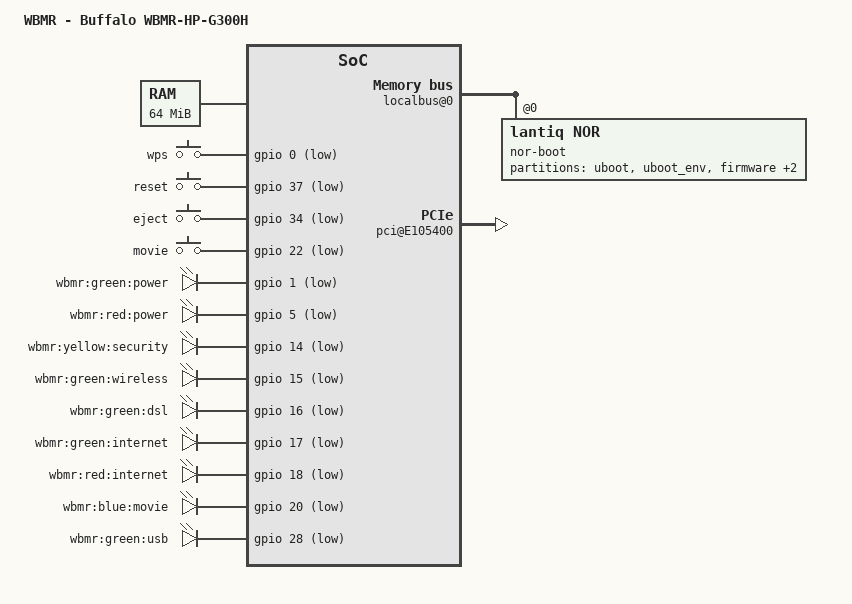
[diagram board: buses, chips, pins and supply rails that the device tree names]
/dts-v1/;

#include "ar9.dtsi"

#include <dt-bindings/input/input.h>

/ {
	model = "WBMR - Buffalo WBMR-HP-G300H";

	chosen {
		bootargs = "console=ttyLTQ0,115200";
	};

	aliases {
		led-boot = &power_green;
		led-failsafe = &power_red;
		led-running = &power_green;

		led-dsl = &dsl;
		led-internet = &online_green;
		led-usb = &usb;
		led-wifi = &wifi;
	};

	memory@0 {
		reg = <0x0 0x4000000>;
	};

	fpi@10000000 {
		localbus@0 {
			nor-boot@0 {
				compatible = "lantiq,nor";
				bank-width = <2>;
				reg = <0 0x0 0x2000000>;
				#address-cells = <1>;
				#size-cells = <1>;

				partitions {
					compatible = "fixed-partitions";
					#address-cells = <1>;
					#size-cells = <1>;

					partition@0 {
						label = "uboot";
						reg = <0x00000 0x40000>;
						read-only;
					};

					partition@40000 {
						label = "uboot_env";
						reg = <0x40000 0x20000>;
						read-only;
					};

					partition@20000 {
						label = "firmware";
						reg = <0x60000 0x1f20000>;
					};

					boardconfig: partition@1fc0000 {
						label = "board";
						reg = <0x1fc0000 0x20000>;
						read-only;
					};

					partition@1fe0000 {
						label = "calibration";
						reg = <0x1fe0000 0x20000>;
						read-only;
					};
				};
			};
		};

		gpio: pinmux@E100B10 {
			pinctrl-names = "default";
			pinctrl-0 = <&state_default>;

			state_default: pinmux {
				pci-in {
					lantiq,groups = "req1";
					lantiq,output = <0>;
					lantiq,open-drain = <1>;
					lantiq,pull = <2>;
				};
				pci-out {
					lantiq,groups = "gnt1";
					lantiq,output = <1>;
					lantiq,pull = <0>;
				};
				pci_rst {
					lantiq,pins = "io21";
					lantiq,pull = <0>;
					lantiq,output = <1>;
				};
			};
		};

		etop@E180000 {
			phy-mode = "rgmii";
			mtd-mac-address = <&boardconfig 0x10024>;
		};

		ifxhcd@E101000 {
			status = "okay";
			gpios = <&gpio 36 GPIO_ACTIVE_HIGH>;
		};

		pci@E105400 {
			status = "okay";
		};
	};

	gpio-keys-polled {
		compatible = "gpio-keys-polled";
		#address-cells = <1>;
		#size-cells = <0>;
		poll-interval = <100>;

		wps {
			label = "wps";
			gpios = <&gpio 0 GPIO_ACTIVE_LOW>;
			linux,code = <KEY_WPS_BUTTON>;
		};
		reset {
			label = "reset";
			gpios = <&gpio 37 GPIO_ACTIVE_LOW>;
			linux,code = <KEY_RESTART>;
		};
		eject {
			label = "eject";
			gpios = <&gpio 34 GPIO_ACTIVE_LOW>;
			linux,code = <KEY_EJECTCD>;
		};
		movie {
			label = "movie";
			gpios = <&gpio 22 GPIO_ACTIVE_LOW>;
			linux,code = <KEY_VIDEO>;
		};
	};

	gpio-leds {
		compatible = "gpio-leds";

		power_green: power {
			label = "wbmr:green:power";
			gpios = <&gpio 1 GPIO_ACTIVE_LOW>;
			default-state = "keep";
		};
		power_red: power2 {
			label = "wbmr:red:power";
			gpios = <&gpio 5 GPIO_ACTIVE_LOW>;
		};
		security {
			label = "wbmr:yellow:security";
			gpios = <&gpio 14 GPIO_ACTIVE_LOW>;
		};
		wifi: wifi {
			label = "wbmr:green:wireless";
			gpios = <&gpio 15 GPIO_ACTIVE_LOW>;
		};
		dsl: dsl {
			label = "wbmr:green:dsl";
			gpios = <&gpio 16 GPIO_ACTIVE_LOW>;
		};
		online_green: online {
			label = "wbmr:green:internet";
			gpios = <&gpio 17 GPIO_ACTIVE_LOW>;
		};
		online2 {
			label = "wbmr:red:internet";
			gpios = <&gpio 18 GPIO_ACTIVE_LOW>;
		};
		movie {
			label = "wbmr:blue:movie";
			gpios = <&gpio 20 GPIO_ACTIVE_LOW>;
		};
		usb: usb {
			label = "wbmr:green:usb";
			gpios = <&gpio 28 GPIO_ACTIVE_LOW>;
			default-state = "on";
		};
	};
};
